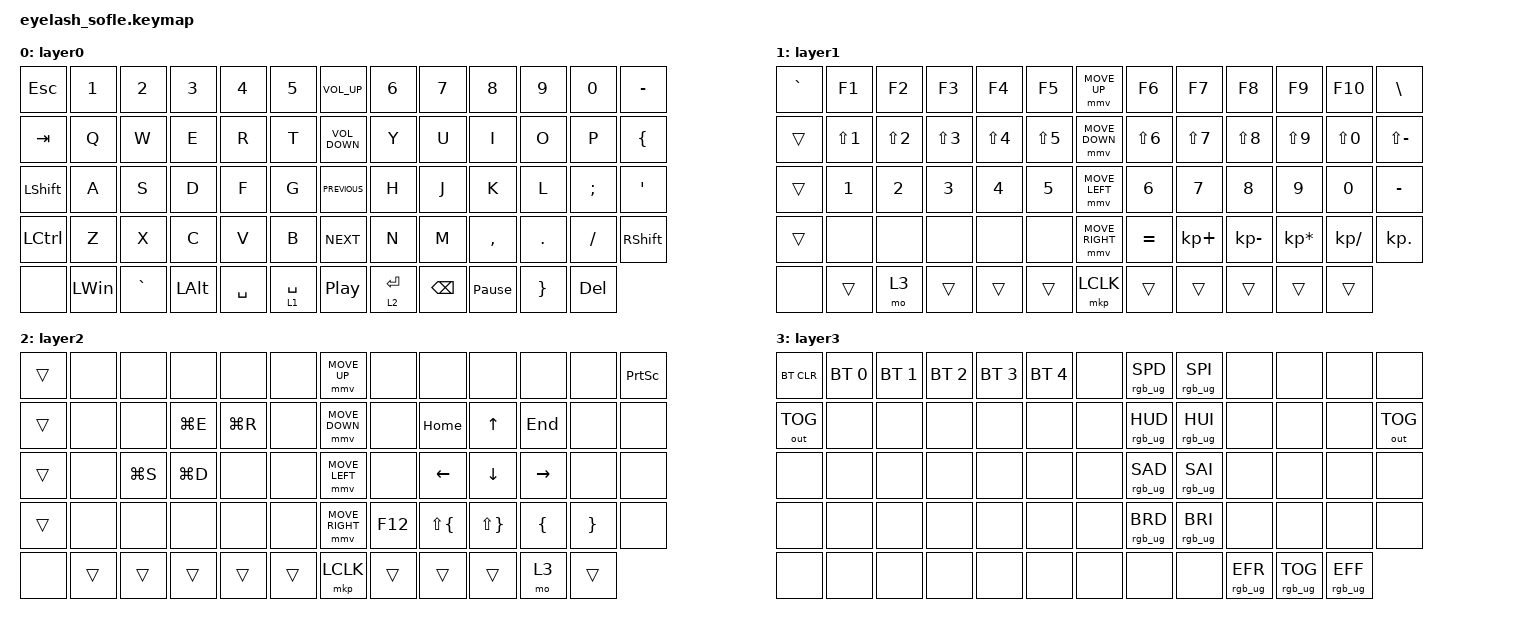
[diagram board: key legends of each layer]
#define ZMK_POINTING_DEFAULT_MOVE_VAL 1200  // 600
#define ZMK_POINTING_DEFAULT_SCRL_VAL 25   // 10

#include <input/processors.dtsi>
#include <zephyr/dt-bindings/input/input-event-codes.h>
#include <behaviors.dtsi>
#include <dt-bindings/zmk/bt.h>
#include <dt-bindings/zmk/keys.h>
#include <dt-bindings/zmk/outputs.h>
#include <dt-bindings/zmk/pointing.h>
#include <dt-bindings/zmk/rgb.h>

&mmv_input_listener { input-processors = <&zip_xy_scaler 2 1>; };

&msc_input_listener { input-processors = <&zip_scroll_scaler 2 1>; };

&msc {
    acceleration-exponent = <1>;      // 0
    time-to-max-speed-ms = <100>;       // 300
    delay-ms = <0>;                   // 0
};

&mmv {
    time-to-max-speed-ms = <500>;
    acceleration-exponent = <1>;
    trigger-period-ms = <16>;
};

&soft_off { hold-time-ms = <2000>; };

&lt { flavor = "hold-preferred"; };

/ {
    combos {
        compatible = "zmk,combos";

        softoff {
            bindings = <&soft_off>;
            key-positions = <14 28 40>;
        };
    };

    keymap {
        compatible = "zmk,keymap";

        MAIN {
            bindings = <
&kp ESC         &kp N1        &kp N2     &kp N3        &kp N4     &kp N5         &kp C_VOL_UP       &kp N6       &kp N7         &kp N8           &kp N9           &kp N0      &kp MINUS
&kp TAB         &kp Q         &kp W      &kp E         &kp R      &kp T          &kp C_VOLUME_DOWN  &kp Y        &kp U          &kp I            &kp O            &kp P       &kp LEFT_BRACE
&kp LEFT_SHIFT  &kp A         &kp S      &kp D         &kp F      &kp G          &kp C_PREVIOUS     &kp H        &kp J          &kp K            &kp L            &kp SEMI    &kp APOS
&kp LCTRL       &kp Z         &kp X      &kp C         &kp V      &kp B          &kp K_NEXT         &kp N        &kp M          &kp COMMA        &kp DOT          &kp FSLH    &kp RIGHT_SHIFT
&none           &kp LEFT_WIN  &kp GRAVE  &kp LEFT_ALT  &kp SPACE  &lt 1 SPACE    &kp C_PLAY_PAUSE   &lt 2 ENTER  &kp BACKSPACE  &kp PAUSE_BREAK  &kp RIGHT_BRACE  &kp DELETE
            >;

            display-name = "layer0";
        };

        NUM {
            bindings = <
&kp GRAVE  &kp F1            &kp F2            &kp F3            &kp F4            &kp F5              &mmv MOVE_UP     &kp F6            &kp F7            &kp F8            &kp F9            &kp F10           &kp BACKSLASH
&trans     &kp LS(NUMBER_1)  &kp LS(NUMBER_2)  &kp LS(NUMBER_3)  &kp LS(NUMBER_4)  &kp LS(NUMBER_5)    &mmv MOVE_DOWN   &kp LS(NUMBER_6)  &kp LS(NUMBER_7)  &kp LS(NUMBER_8)  &kp LS(NUMBER_9)  &kp LS(NUMBER_0)  &kp LS(MINUS)
&trans     &kp NUMBER_1      &kp NUMBER_2      &kp NUMBER_3      &kp NUMBER_4      &kp NUMBER_5        &mmv MOVE_LEFT   &kp NUMBER_6      &kp NUMBER_7      &kp NUMBER_8      &kp NUMBER_9      &kp NUMBER_0      &kp MINUS
&trans     &none             &none             &none             &none             &none               &mmv MOVE_RIGHT  &kp EQUAL         &kp KP_PLUS       &kp KP_MINUS      &kp KP_MULTIPLY   &kp KP_DIVIDE     &kp KP_DOT
&none      &trans            &mo 3             &trans            &trans            &trans              &mkp LCLK        &trans            &trans            &trans            &trans            &trans
            >;

            display-name = "layer1";
        };

        NAV {
            bindings = <
&trans  &none   &none      &none      &none      &none     &mmv MOVE_UP     &none    &none               &none                &none           &none            &kp PRINTSCREEN
&trans  &none   &none      &kp LG(E)  &kp LG(R)  &none     &mmv MOVE_DOWN   &none    &kp HOME            &kp UP               &kp END         &none            &none
&trans  &none   &kp LG(S)  &kp LG(D)  &none      &none     &mmv MOVE_LEFT   &none    &kp LEFT            &kp DOWN             &kp RIGHT       &none            &none
&trans  &none   &none      &none      &none      &none     &mmv MOVE_RIGHT  &kp F12  &kp LS(LEFT_BRACE)  &kp LS(RIGHT_BRACE)  &kp LEFT_BRACE  &kp RIGHT_BRACE  &none
&none   &trans  &trans     &trans     &trans     &trans    &mkp LCLK        &trans   &trans              &trans               &mo 3           &trans
            >;

            display-name = "layer2";
        };

        MISC {
            bindings = <
&bt BT_CLR    &bt BT_SEL 0  &bt BT_SEL 1  &bt BT_SEL 2  &bt BT_SEL 3  &bt BT_SEL 4    &none  &rgb_ug RGB_SPD  &rgb_ug RGB_SPI  &none            &none            &none            &none
&out OUT_TOG  &none         &none         &none         &none         &none           &none  &rgb_ug RGB_HUD  &rgb_ug RGB_HUI  &none            &none            &none            &out OUT_TOG
&none         &none         &none         &none         &none         &none           &none  &rgb_ug RGB_SAD  &rgb_ug RGB_SAI  &none            &none            &none            &none
&none         &none         &none         &none         &none         &none           &none  &rgb_ug RGB_BRD  &rgb_ug RGB_BRI  &none            &none            &none            &none
&none         &none         &none         &none         &none         &none           &none  &none            &none            &rgb_ug RGB_EFR  &rgb_ug RGB_TOG  &rgb_ug RGB_EFF
            >;

            display-name = "layer3";
        };
    };
};
